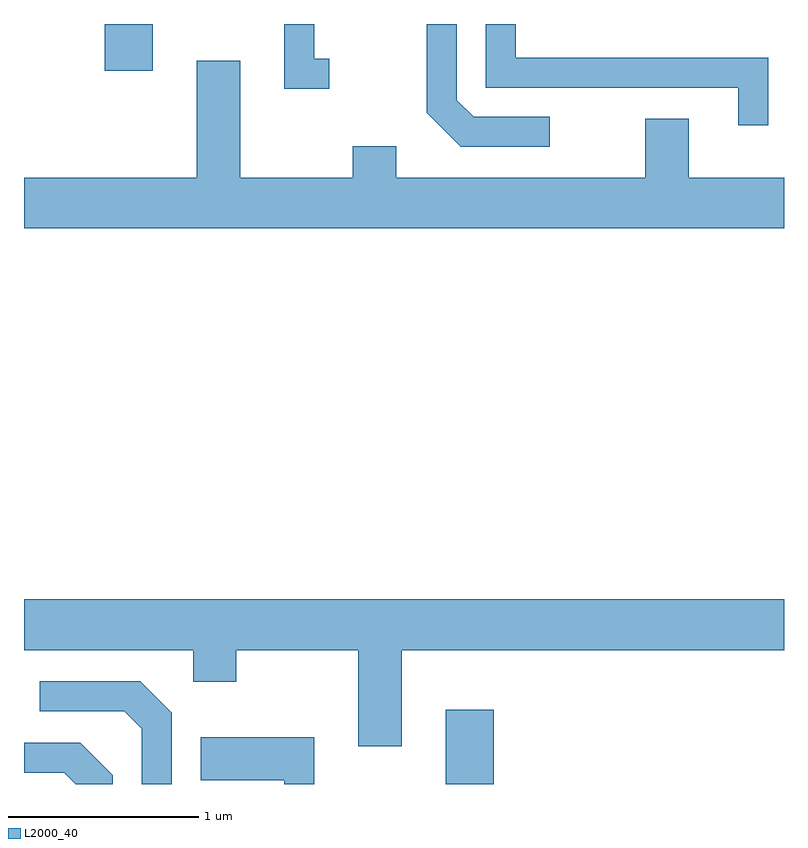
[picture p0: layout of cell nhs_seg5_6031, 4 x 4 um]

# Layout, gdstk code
import gdstk
lib = gdstk.Library(unit=1e-6, precision=1e-09)
def R(c, l, rs):  # rectangles x0, y0, x1, y1
    for r in rs: c.add(gdstk.rectangle(r[:2], r[2:], *l))
def P(c, l, *ps):  # polygons
    for p in ps: c.add(gdstk.Polygon(p, *l))
L2000_40 = (2000, 40)

nhs_seg5_6031 = lib.new_cell('nhs_seg5_6031')
R(nhs_seg5_6031, L2000_40, [(365.831,1476.072,366.084,1476.464), (364.036,1479.826,364.289,1480.072)])
P(nhs_seg5_6031, L2000_40, [(366.378,1479.584),(365.977,1479.584),(365.889,1479.672),(365.889,1480.072),(365.291,1480.072),(365.291,1480.071),(365.731,1480.071),(365.731,1479.604),(365.909,1479.426),(366.378,1479.426)],
  [(367.529,1479.894),(366.199,1479.894),(366.199,1480.072),(366.041,1480.072),(366.041,1479.736),(367.371,1479.736),(367.371,1479.538),(367.529,1479.538)],
  [(365.218,1479.889),(365.139,1479.889),(365.139,1480.072),(364.981,1480.072),(364.981,1479.731),(365.218,1479.731)],
  [(367.611,1479.264),(367.109,1479.264),(367.109,1479.574),(366.881,1479.574),(366.881,1479.264),(365.569,1479.264),(365.569,1479.429),(365.341,1479.429),(365.341,1479.264),(364.749,1479.264),(364.749,1479.879),(364.521,1479.879),(364.521,1479.264),(363.611,1479.264),(363.611,1478.996),(367.611,1478.996)],
  [(365.599,1476.776),(367.611,1476.776),(367.611,1477.044),(363.611,1477.044),(363.611,1476.776),(364.501,1476.776),(364.501,1476.611),(364.729,1476.611),(364.729,1476.776),(365.371,1476.776),(365.371,1476.271),(365.599,1476.271)],
  [(364.389,1476.447),(364.222,1476.614),(363.693,1476.614),(363.693,1476.456),(364.139,1476.456),(364.231,1476.364),(364.231,1476.072),(364.389,1476.072)],
  [(365.139,1476.319),(364.541,1476.319),(364.541,1476.091),(364.981,1476.091),(364.981,1476.072),(365.139,1476.072)],
  [(364.079,1476.117),(363.907,1476.289),(363.611,1476.289),(363.611,1476.131),(363.824,1476.131),(363.883,1476.072),(364.079,1476.072)])

lib.write_gds('nhs_seg5_6031.gds')
